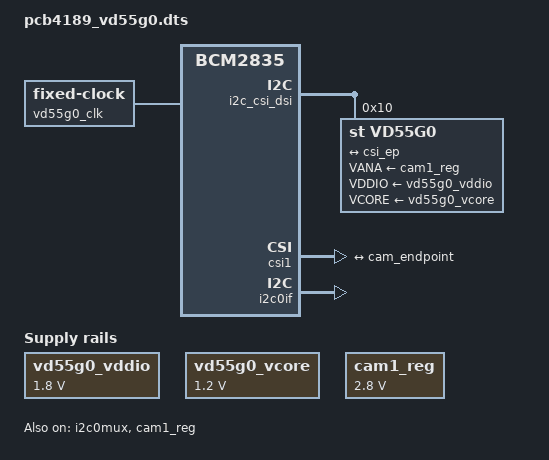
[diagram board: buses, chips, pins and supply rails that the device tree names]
/dts-v1/;
/plugin/;

/{
	compatible = "brcm,bcm2835";

	fragment@0 {
		target = <&i2c_csi_dsi>;
		__overlay__ {
			#address-cells = <1>;
			#size-cells = <0>;
			status = "okay";

			vd55g0: vd55g0@10 {
				compatible = "st,vd55g0";
				reg = <0x10>;
				status = "okay";

				clocks = <&vd55g0_clk>;
				clock-names = "xclk";

				VANA-supply = <&cam1_reg>;
				VDDIO-supply = <&vd55g0_vddio>;
				VCORE-supply = <&vd55g0_vcore>;

				rotation = <0>;
				orientation = <2>;

				port {
					cam_endpoint: endpoint {
						clock-lanes = <0>;
						data-lanes = <1>;
						clock-noncontinuous;
						link-frequencies = /bits/ 64 <201000000 402000000 804000000>;
						lane-polarities = <1 1>;
						remote-endpoint = <&csi_ep>;
					};
				};
			};
		};
	};

	fragment@1 {
		target = <&csi1>;
		__overlay__ {
			status = "okay";

			port {
				csi_ep: endpoint {
					remote-endpoint = <&cam_endpoint>;
					clock-lanes = <0>;
					data-lanes = <1>;
					clock-noncontinuous;
				};
			};
		};
	};

	fragment@2 {
		target = <&i2c0if>;
		__overlay__ {
			status = "okay";
		};
	};

	fragment@3 {
		target-path = "/";
		__overlay__ {
			vd55g0_vddio: fixedregulator@1 {
				compatible = "regulator-fixed";
				regulator-name = "vd55g0_vddio";
				regulator-min-microvolt = <1800000>;
				regulator-max-microvolt = <1800000>;
			};

			vd55g0_vcore: fixedregulator@2 {
				compatible = "regulator-fixed";
				regulator-name = "vd55g0_vcore";
				regulator-min-microvolt = <1200000>;
				regulator-max-microvolt = <1200000>;
			};

			vd55g0_clk: camera-clk {
				compatible = "fixed-clock";
				#clock-cells = <0>;
				clock-frequency = <12000000>;
			};
		};
	};

	fragment@4 {
		target = <&i2c0mux>;
		__overlay__ {
			status = "okay";
		};
	};

	fragment@5 {
		target = <&cam1_reg>;
		__overlay__ {
			status = "okay";
			regulator-name = "vd55g0_vana";
			regulator-min-microvolt = <2800000>;
			regulator-max-microvolt = <2800000>;
		};
	};

	__overrides__ {
		rotation = <&vd55g0>,"rotation:0";
		orientation = <&vd55g0>,"orientation:0";
	};
};
